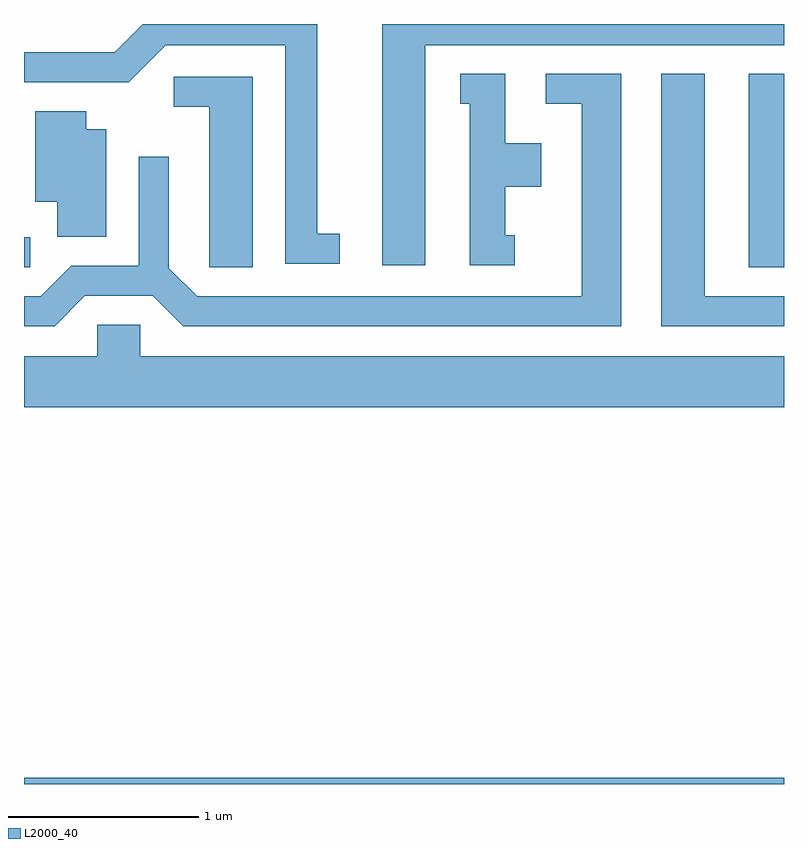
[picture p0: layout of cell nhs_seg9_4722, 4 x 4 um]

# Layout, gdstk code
import gdstk
lib = gdstk.Library(unit=1e-6, precision=1e-09)
def R(c, l, rs):  # rectangles x0, y0, x1, y1
    for r in rs: c.add(gdstk.rectangle(r[:2], r[2:], *l))
def P(c, l, *ps):  # polygons
    for p in ps: c.add(gdstk.Polygon(p, *l))
L2000_40 = (2000, 40)

nhs_seg9_4722 = lib.new_cell('nhs_seg9_4722')
R(nhs_seg9_4722, L2000_40, [(323.611,2056.432,327.611,2056.464), (323.611,2059.151,323.643,2059.309), (327.426,2059.151,327.611,2060.169)])
P(nhs_seg9_4722, L2000_40, [(325.724,2060.321),(327.611,2060.321),(327.611,2060.432),(325.496,2060.432),(325.496,2059.161),(325.724,2059.161)],
  [(325.273,2059.329),(325.154,2059.329),(325.154,2060.432),(324.237,2060.432),(324.089,2060.284),(323.611,2060.284),(323.611,2060.126),(324.162,2060.126),(324.357,2060.321),(324.986,2060.321),(324.986,2059.171),(325.273,2059.171)],
  [(327.611,2058.999),(327.194,2058.999),(327.194,2060.169),(326.966,2060.169),(326.966,2058.841),(327.611,2058.841)],
  [(323.932,2059.001),(324.289,2059.001),(324.449,2058.841),(326.754,2058.841),(326.754,2060.169),(326.358,2060.169),(326.358,2060.011),(326.546,2060.011),(326.546,2058.999),(324.522,2058.999),(324.374,2059.146),(324.374,2059.733),(324.216,2059.733),(324.216,2059.159),(323.859,2059.159),(323.699,2058.999),(323.611,2058.999),(323.611,2058.841),(323.772,2058.841)],
  [(326.193,2059.319),(326.144,2059.319),(326.144,2059.576),(326.334,2059.576),(326.334,2059.804),(326.144,2059.804),(326.144,2060.169),(325.908,2060.169),(325.908,2060.011),(325.956,2060.011),(325.956,2059.161),(326.193,2059.161)],
  [(324.814,2060.154),(324.398,2060.154),(324.398,2059.996),(324.586,2059.996),(324.586,2059.151),(324.814,2059.151)],
  [(324.044,2059.879),(323.939,2059.879),(323.939,2059.974),(323.671,2059.974),(323.671,2059.496),(323.786,2059.496),(323.786,2059.311),(324.044,2059.311)],
  [(327.611,2058.684),(324.224,2058.684),(324.224,2058.849),(323.996,2058.849),(323.996,2058.684),(323.611,2058.684),(323.611,2058.416),(327.611,2058.416)])

lib.write_gds('nhs_seg9_4722.gds')
